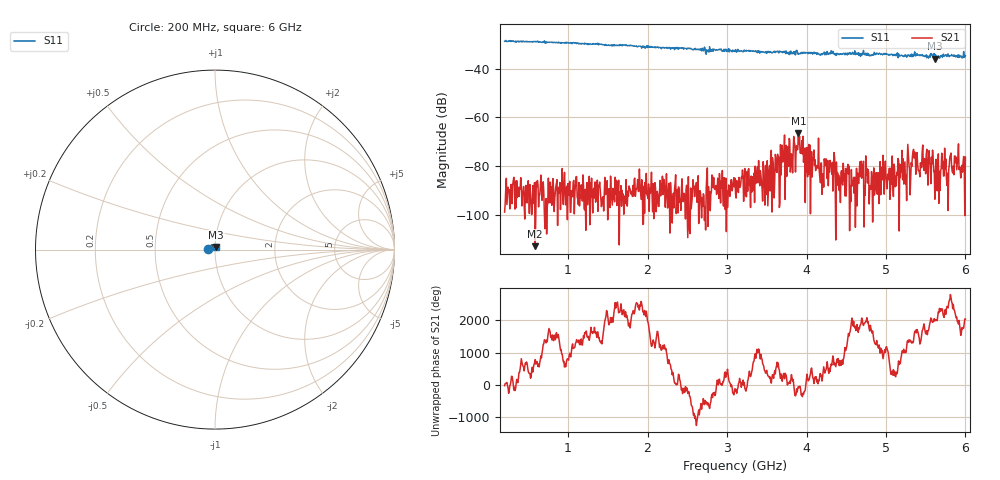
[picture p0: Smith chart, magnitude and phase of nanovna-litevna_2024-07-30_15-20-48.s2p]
! NanoVNA-App by OneOfEleven et al v1.1.209 (+OD15)
! Date: 2024-07-30 15:20:52
! Start: 200MHz Stop: 6GHz Points: 801
! S-Parameter data: F S11 S21 S12 S22
# Hz S RI R 50
!  Frequency  S11_Real  S11_Imag  S21_Real  S21_Imag  S12_Real  S12_Imag  S22_Real  S22_Imag
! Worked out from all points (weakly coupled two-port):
!   801 points, 200 MHz to 6 GHz, reference 50 ohm
!   highest |S21| = -66.37 dB at 3.897 GHz (marker M1); lowest = -113.0 dB at 584.2 MHz (marker M2)
!   lowest |S11| = -35.8 dB at 5.616 GHz (marker M3), VSWR 1.03, Z = 50.5 + j1.54 ohm
!   |S11| at or under -10 dB: start of sweep to end of sweep
!   S12 and S22 are empty: the file has one direction only
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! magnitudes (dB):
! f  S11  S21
! 200 MHz  -28.7  -99.0
! 584.2 MHz  -28.8  -113.0
! 1.171 GHz  -29.6  -90.9
! 2.136 GHz  -31.4  -96.6
! 3.1 GHz  -33.0  -85.0
! 3.513 GHz  -33.3  -96.4
! 3.651 GHz  -33.5  -76.3
! 3.716 GHz  -32.9  -75.9
! 3.803 GHz  -32.7  -80.2
! 3.897 GHz  -34.0  -66.4
! 4.072 GHz  -33.5  -84.5
! 4.188 GHz  -33.8  -78.8
! 5.036 GHz  -34.1  -85.6
! 5.239 GHz  -34.3  -78.3
! 5.362 GHz  -33.1  -74.3
! 5.42 GHz  -34.4  -82.5
! 5.485 GHz  -34.9  -77.0
! 5.616 GHz  -35.8  -93.7
! 5.775 GHz  -34.2  -82.9
! 5.891 GHz  -34.6  -81.6
! 5.949 GHz  -35.0  -80.6
! 6 GHz  -34.6  -76.3
